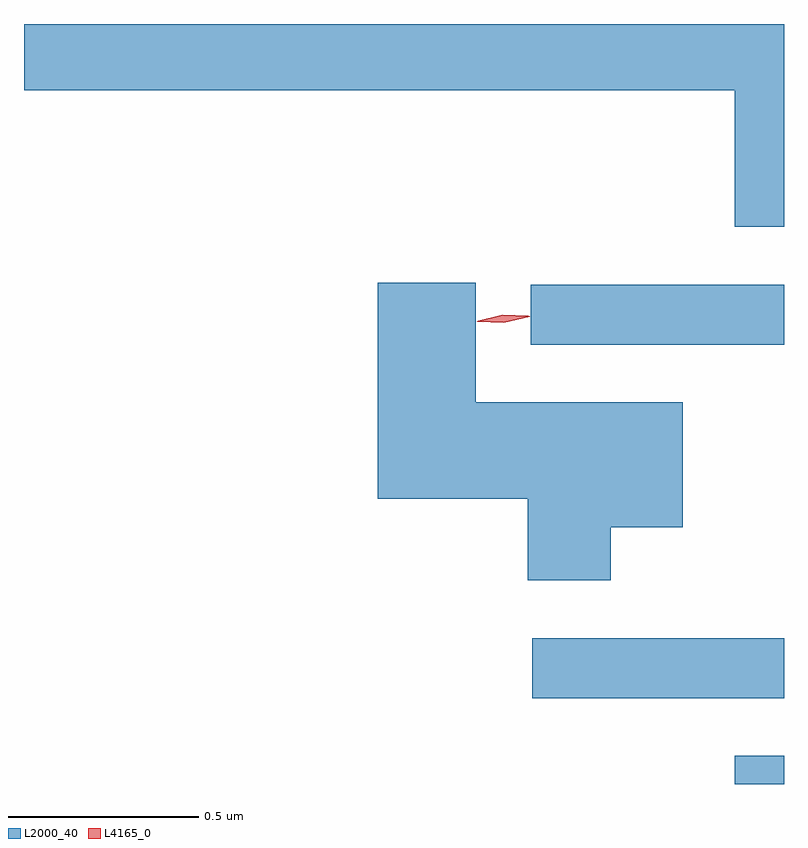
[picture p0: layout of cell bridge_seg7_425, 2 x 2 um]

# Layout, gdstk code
import gdstk
lib = gdstk.Library(unit=1e-6, precision=1e-09)
def R(c, l, rs):  # rectangles x0, y0, x1, y1
    for r in rs: c.add(gdstk.rectangle(r[:2], r[2:], *l))
def P(c, l, *ps):  # polygons
    for p in ps: c.add(gdstk.Polygon(p, *l))
L2000_40 = (2000, 40)
L4165_0 = (4165, 0)

bridge_seg7_425 = lib.new_cell('bridge_seg7_425')
R(bridge_seg7_425, L2000_40, [(1097.176,1716.93,1097.305,1717.004), (1096.643,1717.156,1097.305,1717.314), (1096.638,1718.086,1097.305,1718.244)])
P(bridge_seg7_425, L2000_40, [(1097.305,1718.93),(1095.305,1718.93),(1095.305,1718.756),(1097.176,1718.756),(1097.176,1718.396),(1097.305,1718.396)],
  [(1096.849,1717.606),(1097.039,1717.606),(1097.039,1717.934),(1096.494,1717.934),(1096.494,1718.249),(1096.236,1718.249),(1096.236,1717.681),(1096.631,1717.681),(1096.631,1717.466),(1096.849,1717.466)])
P(bridge_seg7_425, L4165_0, [(1096.568,1718.144),(1096.498,1718.147),(1096.498,1718.148),(1096.498,1718.148),(1096.566,1718.164),(1096.636,1718.161),(1096.636,1718.161),(1096.636,1718.16)],
  [(1096.568,1718.145),(1096.501,1718.148),(1096.5,1718.149),(1096.501,1718.149),(1096.565,1718.165),(1096.632,1718.162),(1096.632,1718.161),(1096.632,1718.161)])

lib.write_gds('bridge_seg7_425.gds')
